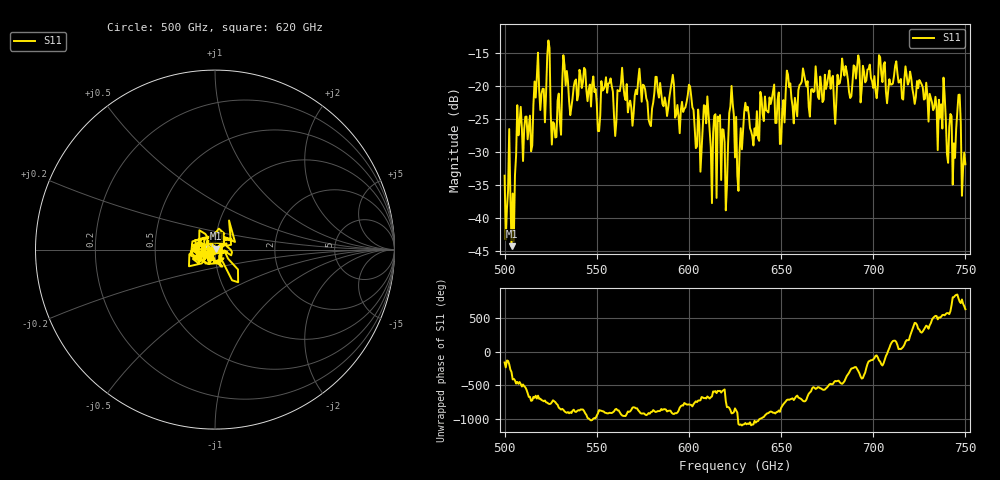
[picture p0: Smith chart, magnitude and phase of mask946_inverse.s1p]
!Created with skrf (http://scikit-rf.org).
# GHz S MA R 50.0
!freq magS11 angS11
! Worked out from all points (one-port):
!   401 points, 500 GHz to 750 GHz, reference 50 ohm
!   lowest |S11| = -44.2 dB at 503.8 GHz (marker M1), VSWR 1.01, Z = 50.3 + j0.516 ohm
!   |S11| at or under -10 dB: start of sweep to end of sweep
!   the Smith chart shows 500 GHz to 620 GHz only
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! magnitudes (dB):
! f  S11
! 500 GHz  -33.5
! 503.8 GHz  -44.2
! 507.5 GHz  -27.4
! 513.8 GHz  -24.4
! 517.5 GHz  -18.5
! 523.8 GHz  -13.0
! 526.9 GHz  -25.6
! 531.2 GHz  -19.5
! 550.6 GHz  -26.8
! 562.5 GHz  -20.7
! 579.4 GHz  -26.0
! 590.6 GHz  -19.5
! 593.8 GHz  -22.8
! 600.6 GHz  -20.0
! 605.6 GHz  -25.9
! 609.4 GHz  -25.6
! 620 GHz  -38.8
! 623.1 GHz  -19.9
! 625 GHz  -30.8
! 627.5 GHz  -29.7
! 631.2 GHz  -23.7
! 635 GHz  -29.0
! 656.2 GHz  -23.0
! 687.5 GHz  -21.8
! 718.8 GHz  -19.7
! 743.8 GHz  -28.6
! 746.2 GHz  -21.3
! 750 GHz  -31.8
